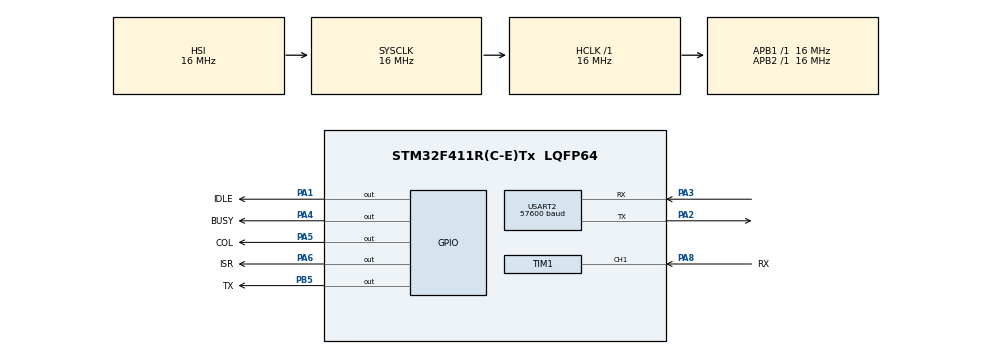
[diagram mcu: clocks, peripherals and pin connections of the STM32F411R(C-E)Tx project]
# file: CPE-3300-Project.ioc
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Mcu.Family=STM32F4
Mcu.Name=STM32F411R(C-E)Tx
Mcu.Package=LQFP64
NVIC.PriorityGroup=NVIC_PRIORITYGROUP_0
NVIC.RCC_IRQn=true\:0\:0\:false\:false\:true\:true\:false\:true
NVIC.TIM1_CC_IRQn=true\:0\:0\:false\:false\:true\:true\:true\:true
PA1.GPIO_Label=IDLE
PA1.GPIO_Speed=GPIO_SPEED_FREQ_VERY_HIGH
PA1.Signal=GPIO_Output
PA13.Mode=Serial_Wire
PA13.Signal=SYS_JTMS-SWDIO
PA14.Mode=Serial_Wire
PA14.Signal=SYS_JTCK-SWCLK
PA2.Mode=Asynchronous
PA2.Signal=USART2_TX
PA3.Mode=Asynchronous
PA3.Signal=USART2_RX
PA4.GPIO_Label=BUSY
PA4.GPIO_Speed=GPIO_SPEED_FREQ_VERY_HIGH
PA4.Signal=GPIO_Output
PA5.GPIO_Label=COL
PA5.GPIO_Speed=GPIO_SPEED_FREQ_VERY_HIGH
PA5.Signal=GPIO_Output
PA6.GPIO_Label=ISR
PA6.GPIO_Speed=GPIO_SPEED_FREQ_VERY_HIGH
PA6.Signal=GPIO_Output
PA8.GPIO_Label=RX
PA8.GPIO_PuPd=GPIO_PULLUP
PA8.GPIO_Speed=GPIO_SPEED_FREQ_VERY_HIGH
PA8.Signal=S_TIM1_CH1
PB5.GPIO_Label=TX
PB5.GPIO_Speed=GPIO_SPEED_FREQ_VERY_HIGH
PB5.Signal=GPIO_Output
PH0\ -\ OSC_IN.Mode=HSE-External-Oscillator
PH0\ -\ OSC_IN.Signal=RCC_OSC_IN
PH1\ -\ OSC_OUT.Mode=HSE-External-Oscillator
PH1\ -\ OSC_OUT.Signal=RCC_OSC_OUT
ProjectManager.HeapSize=0x200
ProjectManager.StackSize=0x400
ProjectManager.TargetToolchain=STM32CubeIDE
RCC.48MHZClocksFreq_Value=48000000
RCC.AHBFreq_Value=16000000
RCC.APB1Freq_Value=16000000
RCC.APB1TimFreq_Value=16000000
RCC.APB2Freq_Value=16000000
RCC.APB2TimFreq_Value=16000000
RCC.CortexFreq_Value=16000000
RCC.HCLKFreq_Value=16000000
RCC.HSE_VALUE=25000000
RCC.HSI_VALUE=16000000
RCC.LSE_VALUE=32768
RCC.SYSCLKFreq_VALUE=16000000
RCC.VCOOutputFreq_Value=192000000
SH.S_TIM1_CH1.0=TIM1_CH1,Input_Capture1_from_TI1
TIM1.Channel-Input_Capture1_from_TI1=TIM_CHANNEL_1
TIM1.Channel-Output\ Compare2\ No\ Output=TIM_CHANNEL_2
TIM1.Channel-Output\ Compare3\ No\ Output=TIM_CHANNEL_3
TIM1.ICPolarity_CH1=TIM_INPUTCHANNELPOLARITY_BOTHEDGE
TIM1.Prescaler=15
USART2.BaudRate=57600
USART2.VirtualMode=VM_ASYNC
VP_TIM1_VS_ClockSourceINT.Mode=Internal
VP_TIM1_VS_no_output2.Mode=Output Compare2 No Output
VP_TIM1_VS_no_output3.Mode=Output Compare3 No Output
board=NUCLEO-F411RE

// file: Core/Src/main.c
/* USER CODE BEGIN Header */
/**
  ******************************************************************************
  * @file           : main.c
  * @brief          : Main program body - CPE 3300 Networking Project
  *
  * Milestones:
  * 	1. Channel Monitor - COMPLETE
  * 	2. Transmitter - COMPLETE
  * 	3. Receiver - COMPLETE
  * 	4. Integration - COMPLETE
  ******************************************************************************
  */
/* USER CODE END Header */
#include "main.h"

/* USER CODE BEGIN Includes */
#include <stdbool.h>
#include <string.h>
#include <stdio.h>
#include <stdlib.h> // srand
//#include <time.h>
/* USER CODE END Includes */

/* USER CODE BEGIN PD */

// Timeout period of 1.11ms for channel monitor
#define DELAY_WITH_TOLERANCE 1110

#define TOLERANCE 0.0132  // +-1.32% tolerance for 1000bps RX
#define MONITOR_TIMEOUT 3000  // 10ms timeout before switching back to command mode

// max tx and rx buffer size with header (adds 6 bytes)
#define MAX_SIZE 261

// Milestone 4
#define DEVICE_ADDR 44
#define BROADCAST_ADDR 255
#define PREAMBLE 0x55
#define TRAILER 0xAA
#define NMAX 128 // Controls random backoff wait time
#define MAX_BACKOFFS 10 // number of backoffs that it will attempt
#define ONE_SEC_TO_USEC 1000000

// Define wait between transmitter edges in microseconds
// Less than 500 to accommodate for hardware delays
// Measured within spec.
#define TX_WAIT 487

// Defining UART functions in terms of C standard IO functions
#define PUTCHAR_PROTOTYPE int __io_putchar(int ch)
#define GETCHAR_PROTOTYPE int __io_getchar(void)
/* USER CODE END PD */

TIM_HandleTypeDef htim1;

UART_HandleTypeDef huart2;

/* USER CODE BEGIN PV */

// RX Channel States
// IDLE: logic high triggered after timeout (1.11ms)
// COL: logic out triggered after timeout (1.11ms)
// BUSY: logic high or low and within timeout threshold (1.11ms)
typedef enum {
	IDLE,
	BUSY,
	COL
} channel_state_t;
// state variable holding the current state based on our custom enum type
volatile channel_state_t state;
volatile channel_state_t prev_state;

// Message header struct
typedef struct {
	uint8_t preamble; // 0x55
	uint8_t src_addr; // 1-byte hex, address of sender
	uint8_t dest_addr; // 1-byte hex, address of receiver
	uint8_t length; // 1-255 valid
	uint8_t crc_flag; // 0 = off, 1 = on
	uint8_t trailer; // 0xAA
} message_header_t;
message_header_t tx_header, rx_header; // save two current headers

volatile bool allow_input = true;

volatile uint16_t times_idle = 0;
volatile GPIO_PinState line_level; // RX pin voltage level
volatile uint16_t TOC_compare_value; // 1.11ms offset from tic value (tic should be ideally 0)
volatile uint16_t timestamp; // offset from entering the tic ISR to reading the tic value

// TX Variables
uint8_t tx_buffer[MAX_SIZE];
uint16_t tx_index = 0; // Character index in buffer
uint8_t bit_index = 0; // Current bit we are sending of current char
uint16_t tx_length = 0;
volatile bool is_transmitting = false;
uint32_t edge_count = 0; // keep track of in TOC ISR to figure out send behavior
bool repeat_mode = false;
volatile bool tx_complete = false; // flag that message was transmitted
volatile uint8_t num_backoffs = 0;
volatile bool was_backoff = false;
volatile bool pull_to_idle = false;
volatile uint32_t start_time = 0;
volatile uint32_t end_time = 0;
volatile bool initiate_backoff = false;

// RX Variables

// Timing Variables
volatile uint16_t last_capture = 0;
volatile uint32_t period = 0;
volatile int bit_state = 0;
volatile uint8_t bit_counter = 0;
volatile uint8_t byte_buffer = 0;
volatile uint8_t one_t_counter = 0;
// Decoded RX Message Buffer
char received_message[MAX_SIZE];
volatile int received_index = 0;
// UART Input Buffer
char uart_rx_buffer[MAX_SIZE];
volatile int uart_rx_ready = 0;
// Tracks if new data arrived. If so, update the console
volatile int new_data_received = 0;
char user_input[MAX_SIZE];

// Monitor Mode Timer
volatile uint32_t last_data_time = 0;
volatile int monitor_mode_active = 0;
volatile int tx_mode_active = 0;

/* USER CODE END PV */

void SystemClock_Config(void);
static void MX_GPIO_Init(void);
static void MX_TIM1_Init(void);
static void MX_USART2_UART_Init(void);
/* USER CODE BEGIN PFP */
void all_leds_off();
void handle_input(char* message);
void process_UART_command(char mode, uint8_t dest_addr, char* message);
void decode_bit(uint32_t pulse_width, bool initial_bit); // RX read "callback"
void print_new_data();
void strip_newline(char *str);
void schedule_backoff();
/* USER CODE END PFP */

/* USER CODE BEGIN 0 */

PUTCHAR_PROTOTYPE
{
HAL_UART_Transmit(&huart2, (uint8_t *)&ch, 1, HAL_MAX_DELAY);
return ch;
}

GETCHAR_PROTOTYPE
{
uint8_t ch = 0;
__HAL_UART_CLEAR_OREFLAG(&huart2);
HAL_UART_Receive(&huart2, (uint8_t *)&ch, 1, HAL_MAX_DELAY);

HAL_UART_Transmit(&huart2, &ch, 1, HAL_MAX_DELAY); // Echo character back

// These lines make the serial console a little friendlier
// Translate /r to /n for stdin, but echo /r/n for terminal
if (ch == '\r'){  // If character is CR
	ch = '\n';   // Return LF. fgets is terminated by LF
	HAL_UART_Transmit(&huart2, (uint8_t *)&ch, 1, 0xFFFF);
}

return ch;
}
/* USER CODE END 0 */

int main(void)
{

  /* USER CODE BEGIN 1 */
  // For UART - clears stdin char buffer
  setvbuf(stdin, NULL, _IONBF, 0);
  /* USER CODE END 1 */

  /* MCU Configuration--------------------------------------------------------*/

  /* Reset of all peripherals, Initializes the Flash interface and the Systick. */
  HAL_Init();

  /* Configure the system clock */
  SystemClock_Config();

  /* Initialize all configured peripherals */
  MX_GPIO_Init();
  MX_TIM1_Init();
  MX_USART2_UART_Init();
  /* USER CODE BEGIN 2 */

  // Set channel_state to IDLE to start
  state = IDLE; // Initialize the state of our machine to IDLE before receiving
  prev_state = IDLE;
  HAL_GPIO_WritePin(IDLE_GPIO_Port, IDLE_Pin, GPIO_PIN_SET); // Setting IDLE LED to on

  // Initial IDLE high
  if (state == IDLE) {
    HAL_GPIO_WritePin(TX_GPIO_Port, TX_Pin, GPIO_PIN_SET);
  }
  // start input capture timer
  HAL_TIM_IC_Start_IT(&htim1, TIM_CHANNEL_1);

  // seed srand with current timer value
  srand(__HAL_TIM_GET_COUNTER(&htim1));

  /* USER CODE END 2 */

  /* Infinite loop */
  /* USER CODE BEGIN WHILE */

  while (1)
  {
	  // After transmitting, don't allow input until
	  // message is either fully transmitted or timed out
	  if (allow_input == true) {

		  uint8_t dest_address;
		  char message[255] = {0};
		  char mode;

		  // Blocking fgets() in command mode
		  printf("CMD> ");
		  //fflush(stdout);
//		  scanf(" %c", &mode);

		  //printf("Mode: %c\n", mode);
		  fgets(user_input, sizeof(user_input), stdin);
		  user_input[strcspn(user_input, "\n")] = '\0';
//		  mode = user_input[0];
//		  if (mode == 's') {
//			  printf("\nEnter node addr: ");
//			  scanf("%u", &dest_address);
//			  printf("\nEnter message: ");
//			  scanf("%s", message);
//		  } else {
//			  dest_address = 0;
//			  message[0] = '\0';
//		  }
		  //printf("Input: %s\n", user_input);

		  // Parse user input for commands
		  sscanf(user_input, "%c %u %[^\n]", &mode, &dest_address, message);

		 // strip_newline(user_input);
		  process_UART_command(mode, dest_address, message);
	  }

	  // Poll flag to know if message was sent or timed out
	  if (tx_complete == true) {
		  allow_input = true;
		  tx_complete = false;

		  if (was_backoff) {
			  printf("--> Message send failed after %u attempts\n",
					  MAX_BACKOFFS);
		  } else {
			  printf("--> Message sent\n");
		  }
		  was_backoff = false;
	  }

    /* USER CODE END WHILE */

  }
}

void SystemClock_Config(void)
{
  RCC_OscInitTypeDef RCC_OscInitStruct = {0};
  RCC_ClkInitTypeDef RCC_ClkInitStruct = {0};

  /** Configure the main internal regulator output voltage
  */
  __HAL_RCC_PWR_CLK_ENABLE();
  __HAL_PWR_VOLTAGESCALING_CONFIG(PWR_REGULATOR_VOLTAGE_SCALE1);

  /** Initializes the RCC Oscillators according to the specified parameters
  * in the RCC_OscInitTypeDef structure.
  */
  RCC_OscInitStruct.OscillatorType = RCC_OSCILLATORTYPE_HSI;
  RCC_OscInitStruct.HSIState = RCC_HSI_ON;
  RCC_OscInitStruct.HSICalibrationValue = RCC_HSICALIBRATION_DEFAULT;
  RCC_OscInitStruct.PLL.PLLState = RCC_PLL_NONE;
  if (HAL_RCC_OscConfig(&RCC_OscInitStruct) != HAL_OK)
  {
    Error_Handler();
  }

  /** Initializes the CPU, AHB and APB buses clocks
  */
  RCC_ClkInitStruct.ClockType = RCC_CLOCKTYPE_HCLK|RCC_CLOCKTYPE_SYSCLK
                              |RCC_CLOCKTYPE_PCLK1|RCC_CLOCKTYPE_PCLK2;
  RCC_ClkInitStruct.SYSCLKSource = RCC_SYSCLKSOURCE_HSI;
  RCC_ClkInitStruct.AHBCLKDivider = RCC_SYSCLK_DIV1;
  RCC_ClkInitStruct.APB1CLKDivider = RCC_HCLK_DIV1;
  RCC_ClkInitStruct.APB2CLKDivider = RCC_HCLK_DIV1;

  if (HAL_RCC_ClockConfig(&RCC_ClkInitStruct, FLASH_LATENCY_0) != HAL_OK)
  {
    Error_Handler();
  }
}

static void MX_TIM1_Init(void)
{

  TIM_ClockConfigTypeDef sClockSourceConfig = {0};
  TIM_MasterConfigTypeDef sMasterConfig = {0};
  TIM_IC_InitTypeDef sConfigIC = {0};
  TIM_OC_InitTypeDef sConfigOC = {0};
  TIM_BreakDeadTimeConfigTypeDef sBreakDeadTimeConfig = {0};

  htim1.Instance = TIM1;
  htim1.Init.Prescaler = 15;
  htim1.Init.CounterMode = TIM_COUNTERMODE_UP;
  htim1.Init.Period = 65535;
  htim1.Init.ClockDivision = TIM_CLOCKDIVISION_DIV1;
  htim1.Init.RepetitionCounter = 0;
  htim1.Init.AutoReloadPreload = TIM_AUTORELOAD_PRELOAD_DISABLE;
  if (HAL_TIM_Base_Init(&htim1) != HAL_OK)
  {
    Error_Handler();
  }
  sClockSourceConfig.ClockSource = TIM_CLOCKSOURCE_INTERNAL;
  if (HAL_TIM_ConfigClockSource(&htim1, &sClockSourceConfig) != HAL_OK)
  {
    Error_Handler();
  }
  if (HAL_TIM_IC_Init(&htim1) != HAL_OK)
  {
    Error_Handler();
  }
  if (HAL_TIM_OC_Init(&htim1) != HAL_OK)
  {
    Error_Handler();
  }
  sMasterConfig.MasterOutputTrigger = TIM_TRGO_RESET;
  sMasterConfig.MasterSlaveMode = TIM_MASTERSLAVEMODE_DISABLE;
  if (HAL_TIMEx_MasterConfigSynchronization(&htim1, &sMasterConfig) != HAL_OK)
  {
    Error_Handler();
  }
  sConfigIC.ICPolarity = TIM_INPUTCHANNELPOLARITY_BOTHEDGE;
  sConfigIC.ICSelection = TIM_ICSELECTION_DIRECTTI;
  sConfigIC.ICPrescaler = TIM_ICPSC_DIV1;
  sConfigIC.ICFilter = 0;
  if (HAL_TIM_IC_ConfigChannel(&htim1, &sConfigIC, TIM_CHANNEL_1) != HAL_OK)
  {
    Error_Handler();
  }
  sConfigOC.OCMode = TIM_OCMODE_TIMING;
  sConfigOC.Pulse = 0;
  sConfigOC.OCPolarity = TIM_OCPOLARITY_HIGH;
  sConfigOC.OCNPolarity = TIM_OCNPOLARITY_HIGH;
  sConfigOC.OCFastMode = TIM_OCFAST_DISABLE;
  sConfigOC.OCIdleState = TIM_OCIDLESTATE_RESET;
  sConfigOC.OCNIdleState = TIM_OCNIDLESTATE_RESET;
  if (HAL_TIM_OC_ConfigChannel(&htim1, &sConfigOC, TIM_CHANNEL_2) != HAL_OK)
  {
    Error_Handler();
  }
  if (HAL_TIM_OC_ConfigChannel(&htim1, &sConfigOC, TIM_CHANNEL_3) != HAL_OK)
  {
    Error_Handler();
  }
  sBreakDeadTimeConfig.OffStateRunMode = TIM_OSSR_DISABLE;
  sBreakDeadTimeConfig.OffStateIDLEMode = TIM_OSSI_DISABLE;
  sBreakDeadTimeConfig.LockLevel = TIM_LOCKLEVEL_OFF;
  sBreakDeadTimeConfig.DeadTime = 0;
  sBreakDeadTimeConfig.BreakState = TIM_BREAK_DISABLE;
  sBreakDeadTimeConfig.BreakPolarity = TIM_BREAKPOLARITY_HIGH;
  sBreakDeadTimeConfig.AutomaticOutput = TIM_AUTOMATICOUTPUT_DISABLE;
  if (HAL_TIMEx_ConfigBreakDeadTime(&htim1, &sBreakDeadTimeConfig) != HAL_OK)
  {
    Error_Handler();
  }

}

static void MX_USART2_UART_Init(void)
{

  huart2.Instance = USART2;
  huart2.Init.BaudRate = 57600;
  huart2.Init.WordLength = UART_WORDLENGTH_8B;
  huart2.Init.StopBits = UART_STOPBITS_1;
  huart2.Init.Parity = UART_PARITY_NONE;
  huart2.Init.Mode = UART_MODE_TX_RX;
  huart2.Init.HwFlowCtl = UART_HWCONTROL_NONE;
  huart2.Init.OverSampling = UART_OVERSAMPLING_16;
  if (HAL_UART_Init(&huart2) != HAL_OK)
  {
    Error_Handler();
  }

}

static void MX_GPIO_Init(void)
{
  GPIO_InitTypeDef GPIO_InitStruct = {0};

  /* GPIO Ports Clock Enable */
  __HAL_RCC_GPIOH_CLK_ENABLE();
  __HAL_RCC_GPIOA_CLK_ENABLE();
  __HAL_RCC_GPIOB_CLK_ENABLE();

  /*Configure GPIO pin Output Level */
  HAL_GPIO_WritePin(GPIOA, IDLE_Pin|BUSY_Pin|COL_Pin|ISR_Pin, GPIO_PIN_RESET);

  /*Configure GPIO pin Output Level */
  HAL_GPIO_WritePin(TX_GPIO_Port, TX_Pin, GPIO_PIN_RESET);

  /*Configure GPIO pins : IDLE_Pin BUSY_Pin COL_Pin ISR_Pin */
  GPIO_InitStruct.Pin = IDLE_Pin|BUSY_Pin|COL_Pin|ISR_Pin;
  GPIO_InitStruct.Mode = GPIO_MODE_OUTPUT_PP;
  GPIO_InitStruct.Pull = GPIO_NOPULL;
  GPIO_InitStruct.Speed = GPIO_SPEED_FREQ_VERY_HIGH;
  HAL_GPIO_Init(GPIOA, &GPIO_InitStruct);

  /*Configure GPIO pin : TX_Pin */
  GPIO_InitStruct.Pin = TX_Pin;
  GPIO_InitStruct.Mode = GPIO_MODE_OUTPUT_PP;
  GPIO_InitStruct.Pull = GPIO_NOPULL;
  GPIO_InitStruct.Speed = GPIO_SPEED_FREQ_VERY_HIGH;
  HAL_GPIO_Init(TX_GPIO_Port, &GPIO_InitStruct);

}

/* USER CODE BEGIN 4 */
/**
 *                Milestone 1:  CHANNEL MONITOR
 * TIM1 Input Capture ISR Callback Function
 *
 * Entered any time we detect an edge on the RX pin.
 * Records the tic timestamp immediately to avoid offset from running code
 * Writes the BUSY led value to be on, also changes the state variable to BUSY
 * Starts an output capture event that will end exactly
 * 1.11ms after the edge was detected
 */
void HAL_TIM_IC_CaptureCallback(TIM_HandleTypeDef* htim) {
	// Verifies that the correct timer and channel are active
	if (htim->Instance == TIM1 && htim->Channel == HAL_TIM_ACTIVE_CHANNEL_1) {
		// Read TIC captured value first thing to reset counter
		// This reduces the delay that running code in between would add.
		timestamp = HAL_TIM_ReadCapturedValue(htim, TIM_CHANNEL_1);
//		HAL_GPIO_WritePin(ISR_GPIO_Port, ISR_Pin, GPIO_PIN_SET);

		// State always equals busy after we see a rising edge
		prev_state = state;
		state = BUSY;

		/**
		 * RX Behavior
		 */
		uint16_t pulse_width;
		bool initial_bit = false;
		if (prev_state == IDLE) {
			++times_idle;
			initial_bit = true;
		}

		pulse_width = timestamp - last_capture;
		last_capture = timestamp;

		decode_bit(pulse_width, initial_bit); // figure out if 1T or 2T has passed

		/**
		 * Channel monitor behavior
		 */
		// Stop output compare before resetting it
		HAL_TIM_OC_Stop_IT(&htim1, TIM_CHANNEL_2);

		// Turns off IDLE and COL leds
		HAL_GPIO_WritePin(COL_GPIO_Port, COL_Pin, GPIO_PIN_RESET);
		HAL_GPIO_WritePin(IDLE_GPIO_Port, IDLE_Pin, GPIO_PIN_RESET);

		// Set the BUSY led to on
		HAL_GPIO_WritePin(BUSY_GPIO_Port, BUSY_Pin, GPIO_PIN_SET);

		TOC_compare_value = timestamp + DELAY_WITH_TOLERANCE;

		// Set up the TOC capture-compare value
		__HAL_TIM_SET_COMPARE(htim, TIM_CHANNEL_2, TOC_compare_value);

		// Check if TOC interrupt flag is pending
		// If it is, clear it.
		if (__HAL_TIM_GET_FLAG(htim, TIM_FLAG_CC2)) {
			__HAL_TIM_CLEAR_FLAG(htim, TIM_FLAG_CC2);
		}

		// Start TOC
		HAL_TIM_OC_Start_IT(htim, TIM_CHANNEL_2);
//		HAL_GPIO_WritePin(ISR_GPIO_Port, ISR_Pin, GPIO_PIN_RESET);
	}
}

/**
 *                    Milestone 1: CHANNEL MONITOR
 * Triggers when there is a timeout of 1.11ms
 * This signifies that we are no longer in BUSY (IDLE or COL)
 *
 * IMPORTANT NOTE:
 * If IC is triggered while in this interrupt, it will be pending and
 * waiting to trigger, so if there was an edge detected while
 * in this loop, ideally, our system will trigger the TIC ISR immediately
 * after exiting this function
 */
void HAL_TIM_OC_DelayElapsedCallback(TIM_HandleTypeDef* htim) {

	// CHANNEL MONITOR OC
	if (htim->Instance == TIM1 && htim->Channel == HAL_TIM_ACTIVE_CHANNEL_2) {
		all_leds_off();

		// Checking the current logic level to determine if IDLE (1) or COL (0)
		line_level = HAL_GPIO_ReadPin(RX_GPIO_Port, RX_Pin);

		// STATE == IDLE
		if (line_level == GPIO_PIN_SET) { // voltage is high
			prev_state = state;
			state = IDLE;
			HAL_GPIO_WritePin(IDLE_GPIO_Port, IDLE_Pin, GPIO_PIN_SET);

			// Transition from COL->IDLE
			if (initiate_backoff == true) {
				is_transmitting = true; // Attempting retransmission
				schedule_backoff();
				initiate_backoff = false;
			}

		// STATE == COLLISION
		} else if (line_level == GPIO_PIN_RESET) { // voltage is low
			prev_state = state;
			state = COL;
			HAL_GPIO_WritePin(COL_GPIO_Port, COL_Pin, GPIO_PIN_SET);

			if (is_transmitting == true) {
				// Drive TX line high
				HAL_GPIO_WritePin(TX_GPIO_Port, TX_Pin, GPIO_PIN_SET);

				// Immediately stop transmitting
				HAL_TIM_OC_Stop_IT(&htim1, TIM_CHANNEL_3);

				// Reset receive parameters
				bit_counter = 0;
				byte_buffer = 0;
				one_t_counter = 0;
				received_index = 0;
//				for (uint16_t i = 0; i < sizeof(received_message); ++i) {
//					received_message[i] = 0;
//				}

				// Reset transmit parameters
				num_backoffs = 0;
				tx_index = 0;
				edge_count = 0;
				bit_index = 0;

				// Enter backoff state
				is_transmitting = false;
				initiate_backoff = true;
			}

		}
	}

	// Transmitter OC complete callback
	if (htim->Instance == TIM1 && htim->Channel == HAL_TIM_ACTIVE_CHANNEL_3) {
		// For monitoring TX vs Backoffs
		//HAL_GPIO_WritePin(ISR_GPIO_Port, ISR_Pin, GPIO_PIN_SET);

		// If we are at the end of a TX, we need to pull back high
		if (pull_to_idle == true) {
			HAL_GPIO_WritePin(TX_GPIO_Port, TX_Pin, GPIO_PIN_SET);

			// if not in last one, do normal behaviors
		} else {
			// schedules next edge (assuming not in COL)
			__HAL_TIM_SET_COMPARE(&htim1, TIM_CHANNEL_3,
											__HAL_TIM_GET_COUNTER(&htim1) + TX_WAIT);

			// Collision check done in channel monitor ISR
			if (state == COL) {
//				if (num_backoffs == 0) {
//					start_time = HAL_GetTick();
//				}
				//HAL_GPIO_WritePin(ISR_GPIO_Port, ISR_Pin, GPIO_PIN_SET);

				// quit trying to re-transmit
				if (num_backoffs == MAX_BACKOFFS) {
					//end_time = HAL_GetTick();
					tx_complete = true;
					was_backoff = true;

					// Reset transmit parameters
					num_backoffs = 0;
					tx_index = 0;
					edge_count = 0;
					bit_index = 0;
					is_transmitting = false;

					HAL_TIM_OC_Stop_IT(&htim1, TIM_CHANNEL_3);
					// clears the TX buffer
					for (uint16_t i = 0; i < sizeof(tx_buffer); ++i) {
					    	tx_buffer[i] = 0;
					}

					//HAL_GPIO_WritePin(ISR_GPIO_Port, ISR_Pin, GPIO_PIN_RESET);
					return;
				}

				// schedule a backoff
				schedule_backoff();
				return;
			}

			// Get current char we are sending and the current bit
			uint8_t current_char = tx_buffer[tx_index];

			// Move from MSB to LSB, shift the desired bit into the LSB
			// and mask with 0x1 to remove everything with LSB
			uint8_t current_bit = (current_char >> (7 - bit_index)) & 1;

			// edge_count is 0 indexed, every even edge means we are
			// sending a new bit, not the second half of a bit
			if (edge_count % 2 == 0) {
				// may need to play nice with GPIO_PINSTATE
				HAL_GPIO_WritePin(TX_GPIO_Port, TX_Pin, !current_bit);
			} else {
				HAL_GPIO_TogglePin(TX_GPIO_Port, TX_Pin);
				++bit_index;
			}

			++edge_count;

			// 2 edges per bit * 8 bits per char = 16 edges per char
			if (edge_count % 16 == 0) {
				++tx_index; // increment which character to use
				bit_index = 0; // reset which bit we are looking at to the MSB
			}

		}

		// End of tx buffer is message length + header
		if (tx_index == tx_length && !pull_to_idle) {
			pull_to_idle = true;
			// schedule one more edge to pull high
			HAL_TIM_OC_Stop_IT(&htim1, TIM_CHANNEL_3);
			__HAL_TIM_SET_COMPARE(&htim1, TIM_CHANNEL_3,
							__HAL_TIM_GET_COUNTER(&htim1) + TX_WAIT);
			HAL_TIM_OC_Start_IT(&htim1, TIM_CHANNEL_3);
			HAL_GPIO_WritePin(ISR_GPIO_Port, ISR_Pin, GPIO_PIN_RESET);
			return;

		} else if (tx_index == tx_length && pull_to_idle == true) {
			pull_to_idle = false;
			// Pulled to logic high and we are fully done
			edge_count = 0;
			bit_index = 0;
			tx_index = 0;

			// Flag to main program to print that the message was successfully sent
			tx_complete = true;
			was_backoff = false;

			if (repeat_mode) {
				tx_index = 0;
				__HAL_TIM_SET_COMPARE(&htim1, TIM_CHANNEL_3,
						__HAL_TIM_GET_COUNTER(&htim1) + TX_WAIT);
				HAL_TIM_OC_Start_IT(&htim1, TIM_CHANNEL_3);
			} else {
				is_transmitting = false;
				HAL_TIM_OC_Stop_IT(&htim1, TIM_CHANNEL_3);
			}
		}
	}
	HAL_GPIO_WritePin(ISR_GPIO_Port, ISR_Pin, GPIO_PIN_RESET);
}

//// UART Interrupt Callback
//void HAL_UART_RxCpltCallback(UART_HandleTypeDef *huart) {
//    if (huart->Instance == USART2) {
//        uart_rx_ready = 1;  // Signal main loop that a command is ready
//        // Restart interrupt
//        HAL_UART_Receive_IT(&huart2, (uint8_t*)uart_rx_buffer, MAX_SIZE);
//    }
//}

// goes through and sets all pins to logic 0
void all_leds_off() {
	HAL_GPIO_WritePin(BUSY_GPIO_Port, BUSY_Pin, GPIO_PIN_RESET);
	HAL_GPIO_WritePin(COL_GPIO_Port, COL_Pin, GPIO_PIN_RESET);
	HAL_GPIO_WritePin(IDLE_GPIO_Port, IDLE_Pin, GPIO_PIN_RESET);
}

// Processes Console Input
void process_UART_command(char mode, uint8_t dest_addr, char* message) {
	//printf("mode: %c\n", mode);
	switch (mode) {
		case 's':
			if (dest_addr != 255) {
				printf("--> Sending message to node %d: \"%s\"\n",
						dest_addr, message);
			} else {
				printf("--> Broadcasting message: \"%s\"\n", message);
			}

			// Schedule a TX
			// It will handle backoffs if necessary

			// Set up for TX header
			tx_header.preamble = PREAMBLE;
			tx_header.src_addr = DEVICE_ADDR;
			tx_header.dest_addr = dest_addr;
			tx_header.length = strlen(message);
			tx_header.crc_flag = 0;
			tx_header.trailer = TRAILER;

			allow_input = false;
			handle_input(message);

			break;
		case 'r':
			print_new_data();
			break;
		default:
			printf("--> Command not recognized.\n");
			break;
	}
}

void print_new_data() {
	// Prints only new data received if RX buffer has a message
	// and its dest_addr is a valid address to read from

	//printf("%d\n", received_message[2]);
    if (new_data_received &&
    		(received_message[2] == BROADCAST_ADDR
          || received_message[2] == DEVICE_ADDR))
    {
    	rx_header.length = received_message[3];
    	rx_header.src_addr = received_message[1];

        printf("--> Received message from node %u: ", rx_header.src_addr);
        // Print only up to the message length
	    for (uint8_t i = 0; i < rx_header.length; i++) {
		    putchar(received_message[5 + i]);
	    }
	    putchar('\n');
    } else {
    	printf("--> No messages received.\n");
    }

    new_data_received = 0;  // Clear flag
    for (uint16_t i = 0; i < sizeof(received_message); ++i) {
    	received_message[i] = 0;
    }
    received_index = 0;

    for (uint16_t i = 0; i < sizeof(tx_buffer); ++i) {
    	tx_buffer[i] = 0;
    }
    tx_index = 0;
}

void schedule_backoff() {
	++num_backoffs;
	// Get randomly generated wait time in microseconds
	uint32_t N = (rand() % (NMAX - 1) + 1);
	uint32_t w = (N / ((float)NMAX)) * ONE_SEC_TO_USEC;

	// schedule TX for w microseconds later
	HAL_TIM_OC_Stop_IT(&htim1, TIM_CHANNEL_3);
	__HAL_TIM_SET_COMPARE(&htim1, TIM_CHANNEL_3,
					__HAL_TIM_GET_COUNTER(&htim1) + w);
	HAL_TIM_OC_Start_IT(&htim1, TIM_CHANNEL_3);
}

// handles starting the OC when a character is received
void handle_input(char* message) {
	repeat_mode = false; // TODO: THIS MAY NOT WORK

	// These offsets will always be in these spots
	tx_buffer[0] = tx_header.preamble;
	tx_buffer[1] = tx_header.src_addr;
	tx_buffer[2] = tx_header.dest_addr;
	tx_buffer[3] = tx_header.length;
	tx_buffer[4] = tx_header.crc_flag;

	// assuming message size is valid
	memcpy(tx_buffer + 5, message, tx_header.length);
	tx_buffer[5 + tx_header.length] = tx_header.trailer;

	// Message + header length
	tx_length = strlen(message) + 6;

	if (!is_transmitting) { // do initial setup if not currently transmitting
		tx_index = 0;
		bit_index = 0;
		edge_count = 0;
		is_transmitting = true;

		// Set up the TOC capture-compare value
		// to schedule the next edge
		__HAL_TIM_SET_COMPARE(&htim1, TIM_CHANNEL_3,
				__HAL_TIM_GET_COUNTER(&htim1) + TX_WAIT);
		HAL_TIM_OC_Start_IT(&htim1, TIM_CHANNEL_3);
	}
}

// Remove trailing '\r' or '\n' if present
void strip_newline(char *str) {
    size_t len = strlen(str);
    if (len > 0 && (str[len - 1] == '\n' || str[len - 1] == '\r')) {
        str[len - 1] = '\0';  // Replace it with null terminator
    }
}

// Decodes Manchester signal timing
void decode_bit(uint32_t pulse_width, bool initial_bit) {

	// Store received bit in buffer
//	static uint8_t bit_counter = 0;
//	static uint8_t byte_buffer = 0;
//	static uint8_t one_t_counter = 0;

	// Start from known 0 after IDLE (true because of preamble)
	if (initial_bit == true) {
		bit_counter = 0;
		byte_buffer = 0;
		one_t_counter = 0;
		bit_state = 0;
		// Shift byte to the left and append bit at LSB
		byte_buffer = ((byte_buffer << 1) | bit_state);
		bit_counter++;
		return;
	}

	// widened timing window to reject less input
    if ((pulse_width > 900) && (pulse_width < 1100)) {
        // Detected 2T period: Bit flip
        bit_state = !bit_state;
        one_t_counter = 0;
    } else if ((pulse_width > 400) && (pulse_width < 600)) {
    	// else, bit is the same as last period
    	++one_t_counter;
    	if (one_t_counter == 1) {
    		return;
    	}
	} else {
		return;
	}

    // Shift byte to the left and append bit at LSB
    byte_buffer = ((byte_buffer << 1) | bit_state);
    bit_counter++;

    one_t_counter = 0;

    if (bit_counter == 8) {
        // Store completed byte
        received_message[received_index++] = byte_buffer;
        received_message[received_index] = '\0';  // Null terminate string
        bit_counter = 0;
        byte_buffer = 0;
        new_data_received = 1;  // Flag new data
        last_data_time = HAL_GetTick();  // Reset monitor timeout timer

        // Prevent buffer overflow
        if (received_index >= MAX_SIZE - 1) {
        	received_index = 0;
        }

    }
}
/* USER CODE END 4 */

void Error_Handler(void)
{
  __disable_irq();
  while (1)
  {
  }
}
